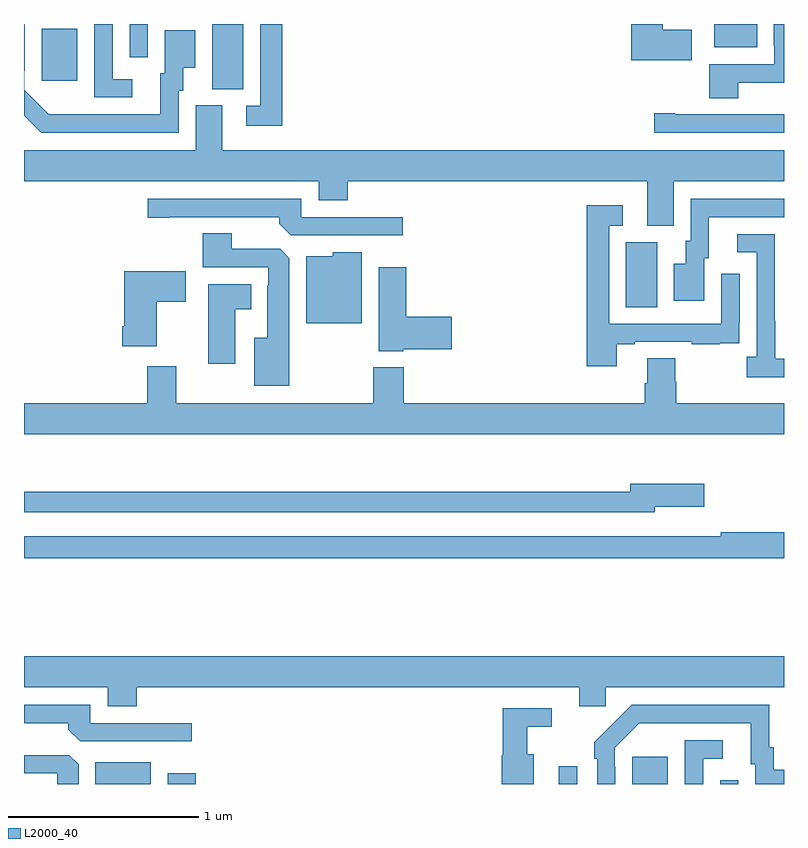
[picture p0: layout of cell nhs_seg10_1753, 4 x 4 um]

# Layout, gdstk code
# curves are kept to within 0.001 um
import gdstk
lib = gdstk.Library(unit=1e-6, precision=1e-09)
def R(c, l, rs):  # rectangles x0, y0, x1, y1
    for r in rs: c.add(gdstk.rectangle(r[:2], r[2:], *l))
def P(c, l, *ps):  # polygons
    for p in ps: c.add(gdstk.Polygon(p, *l))
L2000_40 = (2000, 40)

nhs_seg10_1753 = lib.new_cell('nhs_seg10_1753')
R(nhs_seg10_1753, L2000_40, [(203.375,1274.5,203.668,1274.614), (203.756,1274.5,203.903,1274.557), (205.815,1274.5,205.911,1274.593), (206.201,1274.5,206.389,1274.644), (206.664,1274.5,206.76,1274.521), (206.168,1277.008,206.332,1277.352), (203.99,1278.157,204.154,1278.5), (203.093,1278.201,203.281,1278.475), (203.556,1278.324,203.652,1278.5), (206.633,1278.377,206.86,1278.5)])
P(nhs_seg10_1753, L2000_40, [(206.758,1278.192),(207,1278.192),(207,1278.5),(206.945,1278.5),(206.945,1278.385),(206.949,1278.385),(206.949,1278.288),(206.606,1278.288),(206.606,1278.109),(206.758,1278.109)],
  [(204.359,1278.5),(204.243,1278.5),(204.243,1278.069),(204.171,1278.069),(204.171,1277.964),(204.359,1277.964)],
  [(206.515,1278.471),(206.362,1278.471),(206.362,1278.5),(206.195,1278.5),(206.195,1278.308),(206.515,1278.308)],
  [(203.569,1278.21),(203.466,1278.21),(203.466,1278.5),(203.37,1278.5),(203.37,1278.114),(203.569,1278.114)],
  [(203.814,1278.15),(203.839,1278.15),(203.839,1278.269),(203.902,1278.269),(203.902,1278.466),(203.741,1278.466),(203.741,1278.24),(203.717,1278.24),(203.717,1278.024),(203.13,1278.025),(203.001,1278.153),(203.001,1278.253),(203.004,1278.253),(203.004,1278.5),(203,1278.5),(203,1278.018),(203.09,1277.928),(203.814,1277.928)],
  [(206.419,1277.672),(207,1277.672),(207,1277.836),(204.043,1277.836),(204.043,1278.072),(203.903,1278.072),(203.903,1277.836),(203,1277.836),(203,1277.672),(204.551,1277.672),(204.551,1277.573),(204.704,1277.573),(204.704,1277.672),(206.279,1277.672),(206.279,1277.437),(206.419,1277.437)],
  [(207,1278.024),(206.428,1278.024),(206.428,1278.029),(206.316,1278.029),(206.316,1277.928),(207,1277.928)],
  [(204.994,1277.484),(204.459,1277.484),(204.459,1277.58),(203.652,1277.58),(203.652,1277.479),(203.764,1277.479),(203.764,1277.484),(204.344,1277.484),(204.344,1277.45),(204.405,1277.388),(204.994,1277.388)],
  [(206.581,1277.268),(206.605,1277.268),(206.605,1277.484),(207,1277.484),(207,1277.58),(206.508,1277.58),(206.508,1277.358),(206.483,1277.358),(206.483,1277.239),(206.42,1277.239),(206.42,1277.043),(206.581,1277.043)],
  [(206.119,1276.815),(206.215,1276.815),(206.215,1276.827),(206.515,1276.827),(206.515,1276.815),(206.663,1276.815),(206.663,1276.821),(206.765,1276.821),(206.765,1276.93),(206.766,1276.93),(206.766,1277.185),(206.67,1277.185),(206.67,1276.923),(206.079,1276.923),(206.079,1277.439),(206.152,1277.439),(206.152,1277.545),(205.963,1277.545),(205.963,1276.698),(206.119,1276.698)],
  [(204.397,1277.267),(204.348,1277.316),(204.094,1277.316),(204.094,1277.399),(203.942,1277.399),(203.942,1277.22),(204.285,1277.22),(204.285,1277.123),(204.281,1277.123),(204.281,1276.849),(204.212,1276.849),(204.212,1276.595),(204.397,1276.595)],
  [(207,1276.737),(206.953,1276.737),(206.953,1276.937),(206.952,1276.937),(206.952,1277.394),(206.754,1277.394),(206.754,1277.298),(206.856,1277.298),(206.856,1276.75),(206.805,1276.75),(206.805,1276.64),(207,1276.64)],
  [(204.778,1277.299),(204.624,1277.299),(204.624,1277.278),(204.485,1277.278),(204.485,1276.925),(204.778,1276.925)],
  [(204.996,1276.787),(205.252,1276.787),(205.252,1276.958),(205.013,1276.958),(205.013,1277.221),(204.866,1277.221),(204.866,1276.778),(204.996,1276.778)],
  [(203.698,1277.038),(203.851,1277.038),(203.851,1277.2),(203.528,1277.2),(203.528,1276.909),(203.516,1276.909),(203.516,1276.805),(203.698,1276.805)],
  [(204.112,1277),(204.196,1277),(204.196,1277.131),(203.969,1277.131),(203.969,1276.713),(204.112,1276.713)],
  [(207,1276.504),(206.432,1276.504),(206.432,1276.617),(206.427,1276.617),(206.427,1276.742),(206.279,1276.742),(206.279,1276.61),(206.267,1276.61),(206.267,1276.504),(204.998,1276.504),(204.998,1276.693),(204.838,1276.693),(204.838,1276.504),(203.8,1276.504),(203.8,1276.699),(203.648,1276.699),(203.648,1276.504),(203,1276.504),(203,1276.34),(207,1276.34)],
  [(206.32,1275.959),(206.581,1275.959),(206.581,1276.081),(206.192,1276.081),(206.192,1276.039),(203,1276.039),(203,1275.93),(206.32,1275.93)],
  [(207,1275.824),(206.668,1275.824),(206.668,1275.805),(206.416,1275.805),(206.416,1275.804),(203,1275.804),(203,1275.688),(207,1275.688)],
  [(203,1275.008),(203.441,1275.008),(203.441,1274.909),(203.594,1274.909),(203.594,1275.008),(205.922,1275.008),(205.922,1274.91),(206.061,1274.91),(206.061,1275.008),(207,1275.008),(207,1275.172),(203,1275.172)],
  [(203.884,1274.82),(203.349,1274.82),(203.349,1274.916),(203,1274.916),(203,1274.82),(203.234,1274.82),(203.234,1274.786),(203.295,1274.724),(203.884,1274.724)],
  [(206.112,1274.591),(206.109,1274.591),(206.109,1274.691),(206.238,1274.82),(206.825,1274.82),(206.825,1274.604),(206.849,1274.604),(206.849,1274.5),(207,1274.5),(207,1274.575),(206.947,1274.575),(206.947,1274.694),(206.922,1274.694),(206.922,1274.916),(206.198,1274.916),(206.001,1274.721),(206.001,1274.633),(206.016,1274.633),(206.016,1274.5),(206.112,1274.5)],
  [(205.684,1274.656),(205.648,1274.656),(205.648,1274.801),(205.777,1274.801),(205.777,1274.898),(205.519,1274.898),(205.519,1274.652),(205.514,1274.652),(205.514,1274.5),(205.684,1274.5)],
  [(206.574,1274.634),(206.677,1274.634),(206.677,1274.73),(206.478,1274.73),(206.478,1274.5),(206.574,1274.5)],
  [(203.287,1274.603),(203.238,1274.652),(203,1274.652),(203,1274.556),(203.175,1274.556),(203.175,1274.5),(203.287,1274.5)])

lib.write_gds('nhs_seg10_1753.gds')
